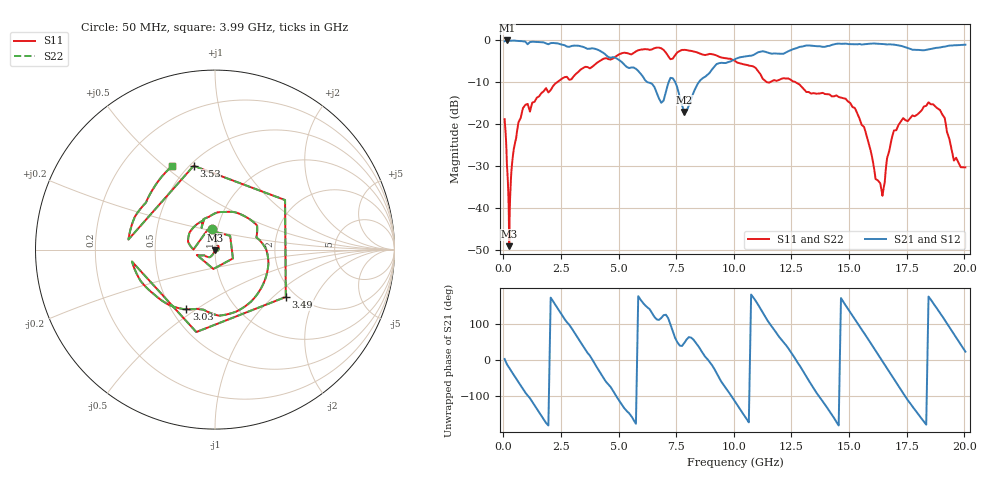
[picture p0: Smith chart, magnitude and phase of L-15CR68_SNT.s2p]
! L-15CR68JE  measured in a shunt fixture
#	mhz	s	ma	r	50
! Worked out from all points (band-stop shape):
!   1001 points, 50 MHz to 20.05 GHz, reference 50 ohm
!   highest |S21| = 0.00 dB at 150 MHz (marker M1); lowest = -17.1 dB at 7.85 GHz (marker M2)
!   |S21| within 3 dB of the highest: start of sweep to 4.355 GHz; 12.22 GHz to end of sweep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
!   lowest |S11| = -49.0 dB at 250 MHz (marker M3), VSWR 1.01, Z = 49.9 - j0.332 ohm
!   |S11| at or under -10 dB: start of sweep to 2.317 GHz; 11.47 GHz to 11.55 GHz (88.55 MHz wide, 0.769 % of centre); 12.69 GHz to end of sweep
!   |S22| runs from -49.0 to -1.7 dB; largest |S21 - S12| = 0
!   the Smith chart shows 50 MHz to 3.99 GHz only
!   S11 on the Smith chart (normalised r, x): 50 MHz: 0.95, +0.22; 3.03 GHz: 0.59, -0.46; 3.49 GHz: 1.78, -1.21; 3.53 GHz: 0.52, +0.64; 3.99 GHz: 0.41, +0.53
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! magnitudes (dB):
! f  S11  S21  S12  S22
! 50 MHz  -18.8  -0.2  -0.2  -18.8
! 150 MHz  -29.6  0.0  0.0  -29.6
! 250 MHz  -49.0  -0.1  -0.1  -49.0
! 550 MHz  -23.3  -0.1  -0.1  -23.3
! 910 MHz  -15.6  -0.2  -0.2  -15.6
! 3.03 GHz  -8.7  -1.2  -1.2  -8.7
! 3.39 GHz  -6.8  -1.4  -1.4  -6.8
! 3.49 GHz  -6.5  -1.6  -1.6  -6.5
! 3.53 GHz  -6.3  -1.7  -1.7  -6.3
! 3.99 GHz  -5.6  -2.0  -2.0  -5.6
! 6.73 GHz  -1.7  -13.5  -13.5  -1.7
! 7.33 GHz  -4.4  -9.0  -9.0  -4.4
! 7.85 GHz  -2.2  -17.1  -17.1  -2.2
! 8.57 GHz  -3.2  -9.4  -9.4  -3.2
! 10.05 GHz  -4.9  -4.4  -4.4  -4.9
! 13.39 GHz  -12.6  -1.3  -1.3  -12.6
! 15.25 GHz  -16.1  -0.9  -0.9  -16.1
! 16.41 GHz  -35.7  -0.8  -0.8  -35.7
! 16.73 GHz  -26.6  -0.9  -0.9  -26.6
! 17.27 GHz  -19.2  -1.3  -1.3  -19.2
! 18.53 GHz  -15.1  -2.1  -2.1  -15.1
! 20.05 GHz  -30.2  -1.0  -1.0  -30.2
